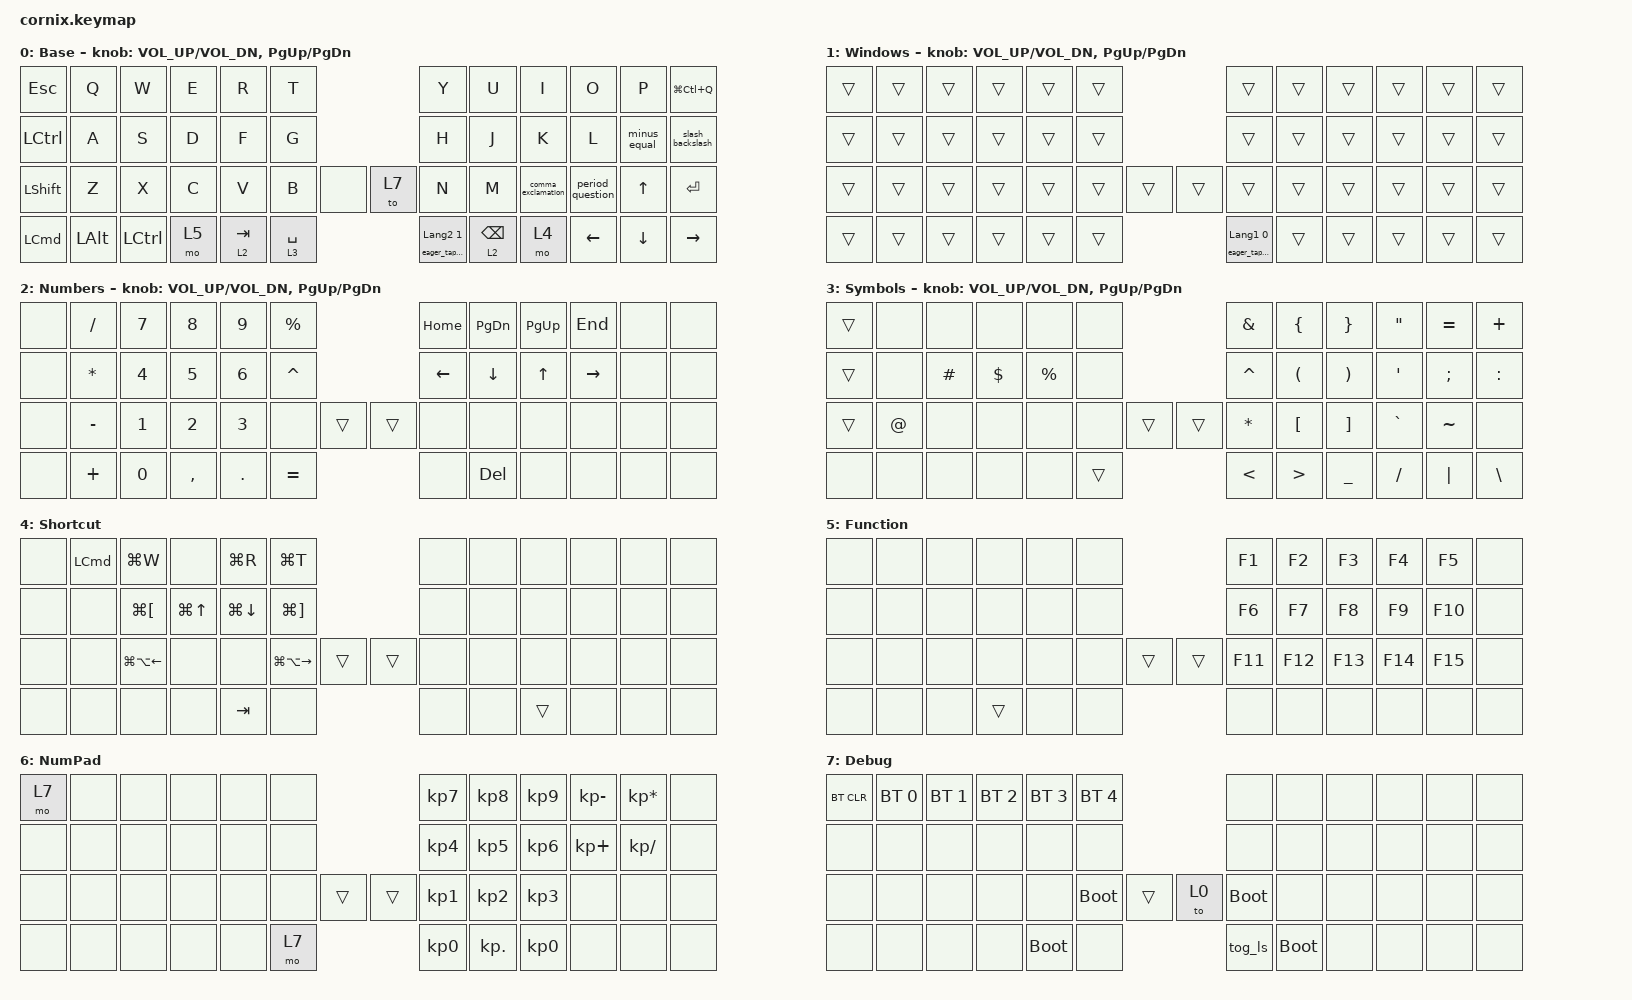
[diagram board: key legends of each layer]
/*
 * Copyright (c) 2020 The ZMK Contributors
 *
 * SPDX-License-Identifier: MIT
 */

#include "zmk-helpers/helper.h"
#include "includes/cornix54.h"
#include <layout_shift_kp_override.dtsi>
#include <behaviors.dtsi>
#include <dt-bindings/zmk/bt.h>
#include <dt-bindings/zmk/keys.h>

// tap windows for ctl alt and gui

#define HM_TAPPING_TERM 250
#define HM_TAPPING_REPEAT 210

// quick tapping for shift

#define HM_TAPPING_TERM_FAST 200
#define HM_PRIOR_IDLE 70
#define BASE 0
#define WIN 1
#define LOWER 2
#define RAISE 3
#define ADJUST 4
#define NAVI   5
#define NUM    6
#define DEBUG  7

// https://github.com/urob/zmk-config/tree/main#timeless-homerow-mods

#define KEYS_L LT0 LT1 LT2 LT3 LT4 LT5 LM0 LM1 LM2 LM3 LM4 LM5 LB0 LB1 LB2 LB3 LB4 LB5  // left hand
#define KEYS_R RT0 RT1 RT2 RT3 RT4 RT5 RM0 RM1 RM2 RM3 RM4 RM5 RB0 RB1 RB2 RB3 RB4 RB5  // right hand
#define THUMBS LH1 LH0 RH0 RH1
#define KEYS_T LH1 LH0 RH0 RH1
#define ZMK_POINTING_DEFAULT_SCRL_VAL 15

&sl { release-after-ms = <200>; };

&lt { quick-tap-ms = <200>; };

/ {
    // Activate ADJUST layer by pressing raise and lower

    behaviors {
        hm_l: homerow_mods_left {
            compatible = "zmk,behavior-hold-tap";
            #binding-cells = <2>;
            bindings = <&kp>, <&kp>;

            flavor = "balanced";
            tapping-term-ms = <HM_TAPPING_TERM>;
            quick-tap-ms = <200>;                // repeat on tap-into-hold
            require-prior-idle-ms = <HM_PRIOR_IDLE>;
            hold-trigger-key-positions = <KEYS_R KEYS_T>;
            hold-trigger-on-release;
        };

        hm_r: homerow_mods_right {
            compatible = "zmk,behavior-hold-tap";
            #binding-cells = <2>;
            bindings = <&kp>, <&kp>;

            flavor = "balanced";
            tapping-term-ms = <HM_TAPPING_TERM>;
            quick-tap-ms = <200>;
            require-prior-idle-ms = <HM_PRIOR_IDLE>;
            hold-trigger-key-positions = <KEYS_L KEYS_T>;
            hold-trigger-on-release;
        };

        // Positional Homerow mods for shift
        // Use faster tapping term and disable some features that may
        // cause false negatives.

        hm_shift_l: hm_shift_l {
            compatible = "zmk,behavior-hold-tap";
            #binding-cells = <2>;
            bindings = <&kp>, <&kp>;

            //flavor = "balanced";

            flavor = "balanced";
            tapping-term-ms = <HM_TAPPING_TERM_FAST>;
            quick-tap-ms = <200>;
            require-prior-idle-ms = <HM_PRIOR_IDLE>;
            hold-trigger-key-positions = <KEYS_R KEYS_T>;
            hold-trigger-on-release;
        };

        hm_shift_r: hm_shift_r {
            compatible = "zmk,behavior-hold-tap";
            #binding-cells = <2>;
            bindings = <&kp>, <&kp>;

            flavor = "balanced";
            tapping-term-ms = <HM_TAPPING_TERM_FAST>;
            quick-tap-ms = <200>;
            require-prior-idle-ms = <HM_PRIOR_IDLE>;
            hold-trigger-key-positions = <KEYS_L KEYS_T>;

            // for quick tapping; shift+~

            hold-trigger-on-release;
        };

        /*
         * Non-Positional Homerow Mods
         * Used for &mm_grescm_gui behavior on left hand.
         *
         * Usage: &hm LSHFT T
         * Tap: T
         * Tap-Tap-Hold: Repeat T
         * Hold: LSHIFT
         */

        hm: homerow_mods {
            compatible = "zmk,behavior-hold-tap";
            #binding-cells = <2>;
            bindings = <&kp>, <&kp>;

            flavor = "balanced";
            tapping-term-ms = <HM_TAPPING_TERM>;
            quick-tap-ms = <200>;
        };

        lt: layer_tap {
            compatible = "zmk,behavior-hold-tap";
            #binding-cells = <2>;
            bindings = <&mo>, <&kp>;

            flavor = "hold-preferred";
            tapping-term-ms = <HM_TAPPING_TERM>;
            quick-tap-ms = <200>;
        };
    };

    conditional_layers { compatible = "zmk,conditional-layers"; };

    combos { compatible = "zmk,combos"; };

    macros {
        eager_tap_dance: eager_tap_dance {
            compatible = "zmk,behavior-macro-two-param";
            #binding-cells = <2>;
            bindings = <&macro_param_1to1 &kp MACRO_PLACEHOLDER &macro_param_2to1 &sl MACRO_PLACEHOLDER>;
            label = "EAGER_TAP_DANCE";
        };
    };

    keymap {
        compatible = "zmk,keymap";

        default_layer {
            display-name = "Base";

            // ------------------------------------------------------------------------------------------------------------
            // |   `   |  1  |  2  |  3   |  4   |  5   |                   |  6   |  7    |  8    |  9   |   0   |       |
            // |  ESC  |  Q  |  W  |  E   |  R   |  T   |                   |  Y   |  U    |  I    |  O   |   P   | BKSPC |
            // |  TAB  |  A  |  S  |  D   |  F   |  G   |                   |  H   |  J    |  K    |  L   |   ;   |   '   |
            // | SHIFT |  Z  |  X  |  C   |  V   |  B   |  MUTE  |  |       |  N   |  M    |  ,    |  .   |   /   | SHIFT |
            //               | GUI | ALT  | CTRL | LOWER|  ENTER |  | SPACE | RAISE| CTRL  | ALT   | GUI  |

            bindings = <
&kp ESCAPE        &kp Q         &kp W             &kp E  &kp R      &kp T                      &kp Y                          &kp U            &kp I               &kp O             &kp P           &kp LG(LC(Q))
&kp LEFT_CONTROL  &kp A         &kp S             &kp D  &kp F      &kp G                      &kp H                          &kp J            &kp K               &kp L             &minus_equal    &slash_backslash
&kp LEFT_SHIFT    &kp Z         &kp X             &kp C  &kp V      &kp B        &none  &to 7  &kp N                          &kp M            &comma_exclamation  &period_question  &kp UP_ARROW    &kp ENTER
&kp LEFT_COMMAND  &kp LEFT_ALT  &kp LEFT_CONTROL  &mo 5  &lt 2 TAB  &lt 3 SPACE                &eager_tap_dance LANGUAGE_2 1  &lt 2 BACKSPACE  &mo 4               &kp LEFT_ARROW    &kp DOWN_ARROW  &kp RIGHT
            >;

            sensor-bindings = <&inc_dec_kp C_VOL_UP C_VOL_DN &inc_dec_kp PG_UP PG_DN>;
        };

        win_layer {
            display-name = "Windows";

            // ------------------------------------------------------------------------------------------------------------
            // |   `   |  1  |  2  |  3   |  4   |  5   |                   |  6   |  7    |  8    |  9   |   0   |       |
            // |  ESC  |  Q  |  W  |  E   |  R   |  T   |                   |  Y   |  U    |  I    |  O   |   P   | BKSPC |
            // |  TAB  |  A  |  S  |  D   |  F   |  G   |                   |  H   |  J    |  K    |  L   |   ;   |   '   |
            // | SHIFT |  Z  |  X  |  C   |  V   |  B   |  MUTE  |  |       |  N   |  M    |  ,    |  .   |   /   | SHIFT |
            //               | GUI | ALT  | CTRL | LOWER|  ENTER |  | SPACE | RAISE| CTRL  | ALT   | GUI  |

            bindings = <
&trans  &trans  &trans  &trans  &trans  &trans                  &trans                         &trans  &trans  &trans  &trans  &trans
&trans  &trans  &trans  &trans  &trans  &trans                  &trans                         &trans  &trans  &trans  &trans  &trans
&trans  &trans  &trans  &trans  &trans  &trans  &trans  &trans  &trans                         &trans  &trans  &trans  &trans  &trans
&trans  &trans  &trans  &trans  &trans  &trans                  &eager_tap_dance LANGUAGE_1 0  &trans  &trans  &trans  &trans  &trans
            >;

            sensor-bindings = <&inc_dec_kp C_VOL_UP C_VOL_DN &inc_dec_kp PG_UP PG_DN>;
        };

        Number_layer {
            display-name = "Numbers";

            // TODO: Some binds are waiting for shifted keycode support.
            // -------------------------------
            // |       |  F1 |  F2 |  F3  |  F4  |  F5  |                   |  F6  |  F7   |  F8   |  F9  |  F10  |  F11  |
            // |   `   |  1  |  2  |  3   |  4   |  5   |                   |  6   |  7    |  8    |  9   |   0   |  F12  |
            // |       |  !  |  @  |  #   |  $   |  %   |                   |  ^   |  &    |  *    |  (   |   )   |   |   |
            // |       |  =  |  -  |  +   |  {   |  }   |        |  |       |  [   |  ]    |  ;    |  :   |   \   |       |
            //               |     |      |      |      |        |  |       |      |       |       |      |

            bindings = <
&none  &kp SLASH     &kp NUMBER_7  &kp NUMBER_8  &kp NUMBER_9  &kp PERCENT                  &kp HOME  &kp PAGE_DOWN  &kp PG_UP  &kp END    &none  &none
&none  &kp ASTERISK  &kp NUMBER_4  &kp NUMBER_5  &kp NUMBER_6  &kp CARET                    &kp LEFT  &kp DOWN       &kp UP     &kp RIGHT  &none  &none
&none  &kp MINUS     &kp NUMBER_1  &kp NUMBER_2  &kp NUMBER_3  &none        &trans  &trans  &none     &none          &none      &none      &none  &none
&none  &kp PLUS      &kp NUMBER_0  &kp COMMA     &kp PERIOD    &kp EQUAL                    &none     &kp DELETE     &none      &none      &none  &none
            >;

            sensor-bindings = <&inc_dec_kp C_VOL_UP C_VOL_DN &inc_dec_kp PG_UP PG_DN>;
        };

        Symbol_layer {
            display-name = "Symbols";

            // ------------------------------------------------------------------------------------------------------------
            // | BTCLR | BT1  | BT2  |  BT3  |  BT4  |  BT5 |                |      |      |       |      |       |       |
            // |       | INS  | PSCR | GUI   |       |      |                | PGUP |      |   ^   |      |       |       |
            // |       | ALT  | CTRL | SHIFT |       | CAPS |                | PGDN |   <- |   v   |  ->  |  DEL  | BKSPC |
            // |       | UNDO | CUT  | COPY  | PASTE |      |      |  |      |      |      |       |      |       |       |
            //                |      |       |       |      |      |  |      |      |      |       |      |

            bindings = <
&trans  &none   &none     &none       &none        &none                   &kp AMPERSAND  &kp LEFT_BRACE        &kp RIGHT_BRACE        &kp DOUBLE_QUOTES  &kp EQUAL      &kp PLUS
&trans  &none   &kp HASH  &kp DOLLAR  &kp PERCENT  &none                   &kp CARET      &kp LEFT_PARENTHESIS  &kp RIGHT_PARENTHESIS  &kp SINGLE_QUOTE   &kp SEMICOLON  &kp COLON
&trans  &kp AT  &none     &none       &none        &none   &trans  &trans  &kp ASTERISK   &kp LEFT_BRACKET      &kp RIGHT_BRACKET      &kp GRAVE          &kp TILDE      &none
&none   &none   &none     &none       &none        &trans                  &kp LESS_THAN  &kp GREATER_THAN      &kp UNDERSCORE         &kp SLASH          &kp PIPE       &kp BACKSLASH
            >;

            sensor-bindings = <&inc_dec_kp C_VOL_UP C_VOL_DN &inc_dec_kp PG_UP PG_DN>;
        };

        Shortcut_layer {
            display-name = "Shortcut";

            // ----------------------------------------------------------------------------------------------------------------------------
            // | BTCLR  |  BT1    |  BT2    |   BT3   |   BT4   |   BT5   |                  |      |      |       |      |       |       |
            // | moDEBUG| RGB_HUD | RGB_HUI | RGB_SAD | RGB_SAI | RGB_EFF |                  |      |      |       |      |       |       |
            // | EXTPWR | RGB_BRD | RGB_BRI |         |         |         |                  |      |      |       |      |       |       |
            // |        |         |         |         |         |         | RGB_TOG | |      |      |      |       |      |       |       |
            //                    |         |         |         |         |         | |      |      |      |       |      |

            bindings = <
&none  &kp LEFT_COMMAND  &kp LG(W)             &none             &kp LG(R)     &kp LG(T)                              &none  &none  &none   &none  &none  &none
&none  &none             &kp LG(LEFT_BRACKET)  &kp LG(UP_ARROW)  &kp LG(DOWN)  &kp LG(RIGHT_BRACKET)                  &none  &none  &none   &none  &none  &none
&none  &none             &kp LG(LA(LEFT))      &none             &none         &kp LG(LA(RIGHT))      &trans  &trans  &none  &none  &none   &none  &none  &none
&none  &none             &none                 &none             &kp TAB       &none                                  &none  &none  &trans  &none  &none  &none
            >;
        };

        Function_layer {
            display-name = "Function";
            bindings = <
&none  &none  &none  &none   &none  &none                  &kp F1   &kp F2   &kp F3   &kp F4   &kp F5   &none
&none  &none  &none  &none   &none  &none                  &kp F6   &kp F7   &kp F8   &kp F9   &kp F10  &none
&none  &none  &none  &none   &none  &none  &trans  &trans  &kp F11  &kp F12  &kp F13  &kp F14  &kp F15  &none
&none  &none  &none  &trans  &none  &none                  &none    &none    &none    &none    &none    &none
            >;
        };

        KeyPad_layer {
            display-name = "NumPad";
            bindings = <
&mo 7  &none  &none  &none  &none  &none                  &kp KP_N7        &kp KP_N8        &kp KP_N9        &kp KP_MINUS  &kp KP_MULTIPLY  &none
&none  &none  &none  &none  &none  &none                  &kp KP_NUMBER_4  &kp KP_NUMBER_5  &kp KP_N6        &kp KP_PLUS   &kp KP_DIVIDE    &none
&none  &none  &none  &none  &none  &none  &trans  &trans  &kp KP_NUMBER_1  &kp KP_NUMBER_2  &kp KP_N3        &none         &none            &none
&none  &none  &none  &none  &none  &mo 7                  &kp KP_N0        &kp KP_DOT       &kp KP_NUMBER_0  &none         &none            &none
            >;
        };

        Debug_layer {
            display-name = "Debug";

            // ----------------------------------------------------------------------------------------------------------------------------
            // | BTCLR  |  BT1    |  BT2    |   BT3   |   BT4   |   BT5   |                  |      |      |       |      |       |       |
            // | EXTPWR | BTCLR | RGB_HUI | RGB_SAD | RGB_SAI | RGB_EFF |                  |      |      |       |      |       |       |
            // |        | RGB_BRD | RGB_BRI |         |         |         |                  |      |      |       |      |       |       |
            // |        |         |         |         |         |         | RGB_TOG | |      |      |      |       |      |       |       |
            //                    |         |         |         |         |         | |      |      |      |       |      |

            bindings = <
&bt BT_CLR  &bt BT_SEL 0  &bt BT_SEL 1  &bt BT_SEL 2  &bt BT_SEL 3  &bt BT_SEL 4                 &none        &none        &none  &none  &none  &none
&none       &none         &none         &none         &none         &none                        &none        &none        &none  &none  &none  &none
&none       &none         &none         &none         &none         &bootloader   &trans  &to 0  &bootloader  &none        &none  &none  &none  &none
&none       &none         &none         &none         &bootloader   &none                        &tog_ls      &bootloader  &none  &none  &none  &none
            >;
        };
    };
};

&tog_ls { layout-maps = <&layout_shift_map_us_to_jis>; };

&tog_ls_on { layout-maps = <&layout_shift_map_us_to_jis>; };

&tog_ls_off { layout-maps = <&layout_shift_map_us_to_jis>; };

// Layout Shift Overlay - Replaces &kp behavior with custom implementation
// This file should be included in keyboard config to override &kp behavior

/ {
    behaviors {
        // Keep the original key_press behavior for ZMK core components

        original_key_press: original_key_press {
            compatible = "zmk,behavior-key-press";
            #binding-cells = <1>;
            label = "KEY_PRESS";
        };

        // Override the existing &kp behavior to use our custom implementation

        kp: key_press {
            compatible = "zmk,behavior-layout-shift-key-press";
            #binding-cells = <1>;
            label = "LAYOUT_SHIFT_KEY_PRESS";
        };

        tog_ls: toggle_layout_shift {
            compatible = "zmk,behavior-layout-shift-toggle";
            #binding-cells = <0>;
            toggle-mode = "flip";
            label = "LAYOUT_SHIFT_TOGGLE";
            display-name = "Toggle Layout Shift";
        };

        comma_exclamation: comma_exclamation {
            compatible = "zmk,behavior-mod-morph";
            label = "COMMA_EXCLAMATION";
            bindings = <&kp COMMA>, <&kp EXCLAMATION>;

            #binding-cells = <0>;
            mods = <(MOD_LSFT)>;
        };

        period_question: period_question {
            compatible = "zmk,behavior-mod-morph";
            label = "PERIOD_QUESTION";
            bindings = <&kp PERIOD>, <&kp QUESTION>;

            #binding-cells = <0>;
            mods = <(MOD_LSFT)>;
        };

        slash_backslash: slash_backslash {
            compatible = "zmk,behavior-mod-morph";
            label = "SLASH_BACKSLASH";
            bindings = <&kp SLASH>, <&kp BACKSLASH>;

            #binding-cells = <0>;
            mods = <(MOD_LSFT)>;
        };

        minus_equal: minus_equal {
            compatible = "zmk,behavior-mod-morph";
            label = "MINUS_EQUAL";
            bindings = <&kp MINUS>, <&kp EQUAL>;

            #binding-cells = <0>;
            mods = <(MOD_LSFT)>;
        };
    };
};
